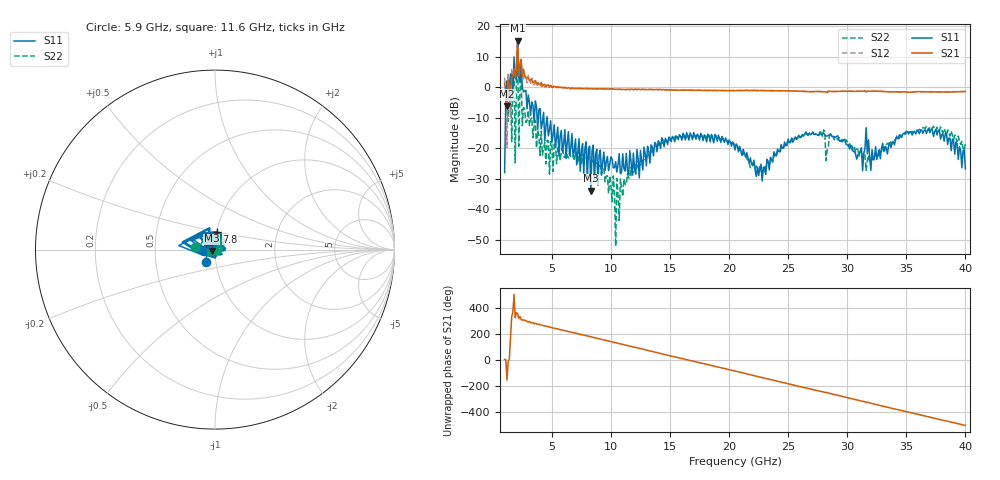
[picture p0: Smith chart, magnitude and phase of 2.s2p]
!Keysight Technologies,N5224A,MY55441802,A.10.65.16
!Date: Wednesday, May 13, 2026 19:05:03
!Correction: S11(Full 2 Port(1,2))
!S21(Full 2 Port(1,2))
!S12(Full 2 Port(1,2))
!S22(Full 2 Port(1,2))
!S2P File: Measurements: S11, S21, S12, S22:
# Hz S  dB  R 50
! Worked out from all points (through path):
!   391 points, 1 GHz to 40 GHz, reference 50 ohm
!   highest |S21| = 15.24 dB at 2.1 GHz (marker M1); lowest = -6.3 dB at 1.2 GHz (marker M2)
!   lowest |S11| = -33.9 dB at 8.3 GHz (marker M3), VSWR 1.04, Z = 48.1 - j0.642 ohm
!   |S11| at or under -10 dB: 4.045 GHz to 4.245 GHz (199.9 MHz wide, 4.82 % of centre); 4.319 GHz to 4.587 GHz (267.3 MHz wide, 6 % of centre); 4.606 GHz to end of sweep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
!   |S22| runs from -52.0 to 11.3 dB; largest |S21 - S12| = 1.3
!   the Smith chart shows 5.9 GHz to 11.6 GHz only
!   S11 on the Smith chart (normalised r, x): 5.9 GHz: 0.89, -0.13; 7.8 GHz: 1.00, +0.20; 11.6 GHz: 0.83, +0.01
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1e9  -27.93 -120.9  1.39 7.7  3.22 21.0  -1.85 -3.8
1.2e9  2.17 -4.0  -6.29 -152.0  -19.68 -98.3  1.76 -25.6
1.4e9  -2.29 161.6  -0.23 9.0  -0.86 -16.7  -0.17 -5.7
1.5e9  4.37 -10.7  -1.14 176.6  -9.64 -176.3  3.23 -33.3
1.6e9  3.42 -14.7  3.13 -25.6  5.78 -18.7  -17.85 -54.0
1.7e9  -1.39 137.1  3.95 10.4  0.84 -15.6  1.43 -17.9
1.8e9  9.94 -26.8  5.98 144.1  2.81 140.2  7.14 -52.0
2e9  2.56 109.9  6.87 4.5  3.04 -11.6  2.10 -30.5
2.1e9  15.32 -166.8  15.24 -1.1  13.72 -11.5  11.26 170.6
2.2e9  3.21 -28.2  3.50 -38.7  4.71 -34.2  -19.31 -58.7
2.4e9  7.75 146.9  9.14 -46.8  8.49 -54.0  2.38 118.6
2.6e9  -1.51 26.3  5.91 -50.4  2.77 -53.1  -6.66 -105.0
5.9e9  -21.21 -126.0  -0.08 -129.8  -0.18 -129.3  -19.05 171.3
7.5e9  -20.80 85.2  -0.45 -163.3  -0.39 -163.0  -25.41 76.3
7.8e9  -19.91 83.8  -0.45 -169.0  -0.45 -168.9  -23.64 67.3
8.3e9  -33.89 -160.7  -0.43 179.8  -0.37 179.7  -24.21 106.0
1.16e10  -20.75 177.8  -0.80 108.6  -0.74 108.6  -29.73 -150.8
1.4e10  -17.55 141.8  -0.83 56.0  -0.79 56.2  -19.05 156.7
2.05e10  -20.52 -13.4  -1.15 -82.9  -1.03 -83.0  -19.23 31.6
2.7e10  -15.23 39.2  -1.44 136.7  -1.39 136.8  -15.19 43.3
3.35e10  -19.24 102.1  -1.48 -2.7  -1.46 -3.1  -18.67 45.3
4e10  -26.76 -53.9  -1.39 -140.4  -1.44 -140.9  -18.54 -49.7
